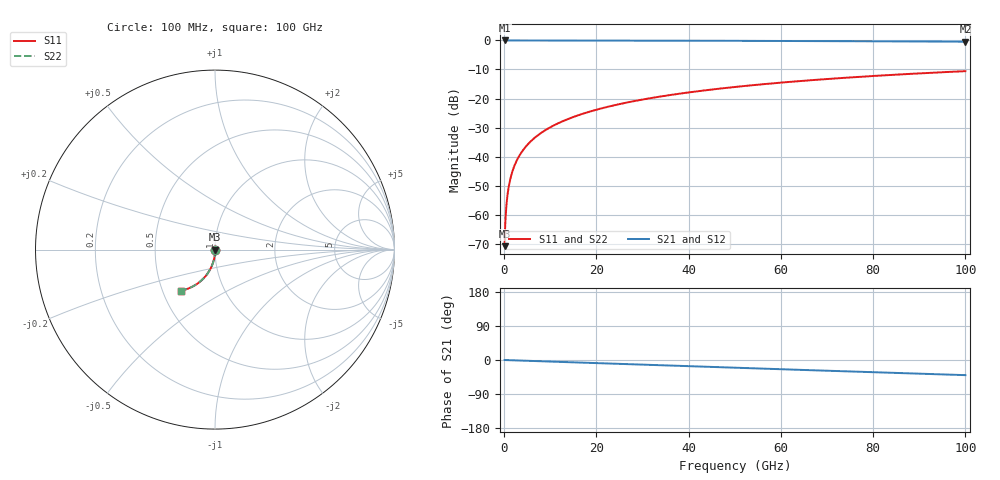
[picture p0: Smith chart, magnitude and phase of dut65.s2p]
! Touchstone file exported from HFSS 2026.1.0
!  File:  C:/ffzhzh/LocalFiles/Ansys_Project_Files/temp_train_TSV_65_1783505181_55944.aedt
!  Generated:  06:07:24 PM Jul  8, 2026
!  Design:  TSV
!  Project:  temp_train_TSV_65_1783505181_55944
! Variables:
!  h_bsmrdl = 2um
!  h_ox = 20um
!  h_rdl = 5um
!  h_sub = 76.21um
!  h_tmrdl = 5um
!  h_tsv = 76.21um
!  h_via = 3um
!  l_bsmrdl = 300um
!  l_sub = 429.9um
!  l_tmrdl = 200um
!  m_sub = 200um
!  pitch = 40.82um
!  r_tsv = 14.95um
!  s_tmrdl = 10um
!  w_bsmrdl = 18um
!  w_sub = 500um
!  w_tmrdl = 12um
!  x_tsv_center1 = 206um
!  x_tsv_center2 = 524um
!  x_tsv_center3 = 736um
!  x_tsv_center4 = 1054um
!  x_tsv_center5 = 1266um
!  x_tsv_center6 = 1584um
# GHz S MA R 50.000000
! Terminal data exported
! Port[1] = TSV1_1_T1
! Port[2] = TSV1_1_T2
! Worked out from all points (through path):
!   1000 points, 100 MHz to 100 GHz, reference 50 ohm
!   highest |S21| = 0.00 dB at 100 MHz (marker M1); lowest = -0.4 dB at 100 GHz (marker M2)
!   group delay of S21, straight-line fit = 1.11 ps
!   lowest |S11| = -70.9 dB at 100 MHz (marker M3), VSWR 1.00, Z = 50 - j0.0276 ohm
!   |S11| at or under -10 dB: start of sweep to end of sweep
!   |S22| runs from -70.9 to -10.6 dB; largest |S21 - S12| = 1.8e-15
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0.1  0.0002865 -74.7  0.9999 -0.0  0.9999 -0.0  0.0002865 -74.7
! Gamma 0 0 0 0
! Port Impedance 50 0 50 0
0.3  0.0008601 -82.3  0.9999 -0.1  0.9999 -0.1  0.0008601 -82.3
0.7  0.002097 -84.8  0.9998 -0.3  0.9998 -0.3  0.002097 -84.8
0.8  0.002413 -85.2  0.9998 -0.3  0.9998 -0.3  0.002413 -85.2
1  0.003045 -85.9  0.9998 -0.4  0.9998 -0.4  0.003045 -85.9
1.3  0.003995 -86.7  0.9997 -0.5  0.9997 -0.5  0.003995 -86.7
1.7  0.005263 -87.4  0.9997 -0.7  0.9997 -0.7  0.005263 -87.4
2.3  0.007172 -88.1  0.9996 -1.0  0.9996 -1.0  0.007172 -88.1
2.9  0.009088 -88.7  0.9996 -1.2  0.9996 -1.2  0.009088 -88.7
3.7  0.01165 -89.3  0.9995 -1.5  0.9995 -1.5  0.01165 -89.3
4.7  0.01487 -90.0  0.9994 -1.9  0.9994 -1.9  0.01487 -90.0
5.8  0.01841 -90.6  0.9993 -2.4  0.9993 -2.4  0.01841 -90.6
8.6  0.02743 -92.1  0.9989 -3.5  0.9989 -3.5  0.02743 -92.1
12.2  0.03904 -93.8  0.9984 -5.0  0.9984 -5.0  0.03904 -93.8
16.8  0.05385 -95.8  0.9975 -6.9  0.9975 -6.9  0.05385 -95.8
24.2  0.07757 -99.0  0.9958 -9.9  0.9958 -9.9  0.07757 -99.0
33.4  0.1067 -102.9  0.9928 -13.7  0.9928 -13.7  0.1067 -102.9
41.2  0.131 -106.1  0.9898 -16.8  0.9898 -16.8  0.131 -106.1
50.1  0.1583 -109.8  0.9856 -20.4  0.9856 -20.4  0.1583 -109.8
66.7  0.2072 -116.5  0.9761 -27.0  0.9761 -27.0  0.2072 -116.5
83.4  0.2535 -123.1  0.9648 -33.5  0.9648 -33.5  0.2535 -123.1
100  0.296 -129.5  0.9521 -40.0  0.9521 -40.0  0.296 -129.5
